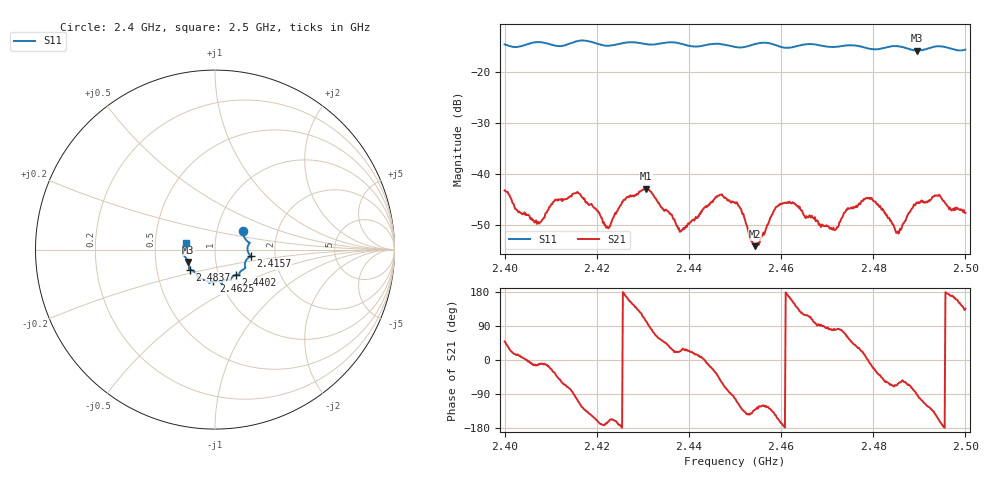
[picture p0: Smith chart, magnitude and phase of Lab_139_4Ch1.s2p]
# Hz S RI R 50
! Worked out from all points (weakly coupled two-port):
!   601 points, 2.4 GHz to 2.5 GHz, reference 50 ohm
!   highest |S21| = -42.80 dB at 2.4307 GHz (marker M1); lowest = -54.1 dB at 2.4543 GHz (marker M2)
!   lowest |S11| = -15.7 dB at 2.4895 GHz (marker M3), VSWR 1.39, Z = 36.8 - j5.18 ohm
!   |S11| at or under -10 dB: start of sweep to end of sweep
!   S12 and S22 are empty: the file has one direction only
!   S11 on the Smith chart (normalised r, x): 2.4 GHz: 1.33, +0.29; 2.4157 GHz: 1.49, -0.11; 2.4402 GHz: 1.20, -0.35; 2.4625 GHz: 0.92, -0.34; 2.4837 GHz: 0.74, -0.17; 2.5 GHz: 0.72, +0.05
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2.4e9  0.1561 0.1053  0.00458 0.00526  0 0  0 0
2.4075e9  0.1943 0.0385  0.00324 -0.000582  0 0  0 0
2.415667e9  0.1986 -0.0361  -0.00144 -0.00648  0 0  0 0
2.416667e9  0.2016 -0.0395  -0.00329 -0.00511  0 0  0 0
2.4225e9  0.1687 -0.069  -0.00283 -0.000871  0 0  0 0
2.430667e9  0.1502 -0.1151  -0.00163 0.00706  0 0  0 0
2.433333e9  0.1355 -0.1335  0.00277 0.00446  0 0  0 0
2.438167e9  0.1294 -0.1415  0.00251 0.00112  0 0  0 0
2.440167e9  0.1145 -0.1409  0.00308 0.00131  0 0  0 0
2.446667e9  0.0839 -0.1705  0.004 -0.00485  0 0  0 0
2.45e9  0.0638 -0.1657  -0.00109 -0.0052  0 0  0 0
2.454333e9  0.0374 -0.1859  -0.00131 -0.00149  0 0  0 0
2.459167e9  0.0278 -0.1805  -0.00434 -0.00212  0 0  0 0
2.4625e9  -0.00984 -0.1766  -0.00483 0.00228  0 0  0 0
2.466667e9  -0.0332 -0.1863  -0.00119 0.00374  0 0  0 0
2.4715e9  -0.0624 -0.166  0.000391 0.00283  0 0  0 0
2.479e9  -0.1045 -0.1356  0.00586 -0.000396  0 0  0 0
2.483333e9  -0.1384 -0.1122  0.00182 -0.00324  0 0  0 0
2.483667e9  -0.1402 -0.1119  0.00145 -0.0032  0 0  0 0
2.4855e9  -0.1446 -0.1072  0.00127 -0.0023  0 0  0 0
2.4895e9  -0.1484 -0.0686  -0.00017 -0.0053  0 0  0 0
2.5e9  -0.1629 0.0364  -0.00295 0.00297  0 0  0 0
